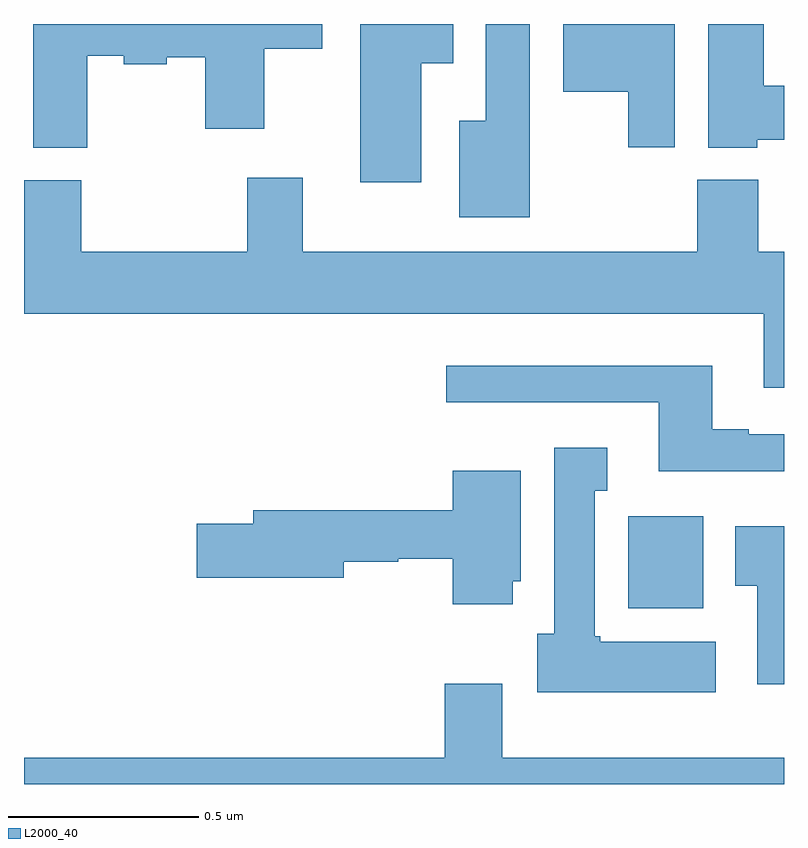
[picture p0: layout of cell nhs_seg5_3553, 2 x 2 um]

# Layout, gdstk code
import gdstk
lib = gdstk.Library(unit=1e-6, precision=1e-09)
def R(c, l, rs):  # rectangles x0, y0, x1, y1
    for r in rs: c.add(gdstk.rectangle(r[:2], r[2:], *l))
def P(c, l, *ps):  # polygons
    for p in ps: c.add(gdstk.Polygon(p, *l))
L2000_40 = (2000, 40)

nhs_seg5_3553 = lib.new_cell('nhs_seg5_3553')
R(nhs_seg5_3553, L2000_40, [(159.59,913.262,159.787,913.504)])
P(nhs_seg5_3553, L2000_40, [(159.93,914.494),(160,914.494),(160,914.636),(159.947,914.636),(159.947,914.799),(159.8,914.799),(159.8,914.474),(159.93,914.474)],
  [(158.166,914.716),(158.262,914.716),(158.262,914.693),(158.376,914.693),(158.376,914.711),(158.477,914.711),(158.477,914.523),(158.632,914.523),(158.632,914.734),(158.785,914.734),(158.785,914.799),(158.024,914.799),(158.024,914.473),(158.166,914.473)],
  [(159.331,914.799),(159.215,914.799),(159.215,914.545),(159.146,914.545),(159.146,914.291),(159.331,914.291)],
  [(159.046,914.696),(159.13,914.696),(159.13,914.799),(158.885,914.799),(158.885,914.382),(159.046,914.382)],
  [(159.712,914.799),(159.419,914.799),(159.419,914.621),(159.59,914.621),(159.59,914.475),(159.712,914.475)],
  [(160,914.2),(159.932,914.2),(159.932,914.389),(159.772,914.389),(159.772,914.2),(158.734,914.2),(158.734,914.395),(158.587,914.395),(158.587,914.2),(158.151,914.2),(158.151,914.388),(158,914.388),(158,914.036),(159.947,914.036),(159.947,913.842),(160,913.842)],
  [(160,913.719),(159.907,913.719),(159.907,913.732),(159.811,913.732),(159.811,913.9),(159.111,913.9),(159.111,913.803),(159.671,913.803),(159.671,913.622),(160,913.622)],
  [(159.82,913.174),(159.516,913.174),(159.516,913.188),(159.502,913.188),(159.502,913.571),(159.535,913.571),(159.535,913.684),(159.395,913.684),(159.395,913.194),(159.35,913.194),(159.35,913.04),(159.82,913.04)],
  [(159.286,913.332),(159.307,913.332),(159.307,913.624),(159.128,913.624),(159.128,913.52),(158.603,913.52),(158.603,913.484),(158.454,913.484),(158.454,913.342),(158.842,913.342),(158.842,913.384),(158.985,913.384),(158.985,913.392),(159.128,913.392),(159.128,913.272),(159.286,913.272)],
  [(160,913.477),(159.872,913.477),(159.872,913.321),(159.929,913.321),(159.929,913.062),(160,913.062)],
  [(160,912.868),(159.259,912.868),(159.259,913.063),(159.107,913.063),(159.107,912.868),(158,912.868),(158,912.799),(160,912.799)])

lib.write_gds('nhs_seg5_3553.gds')
